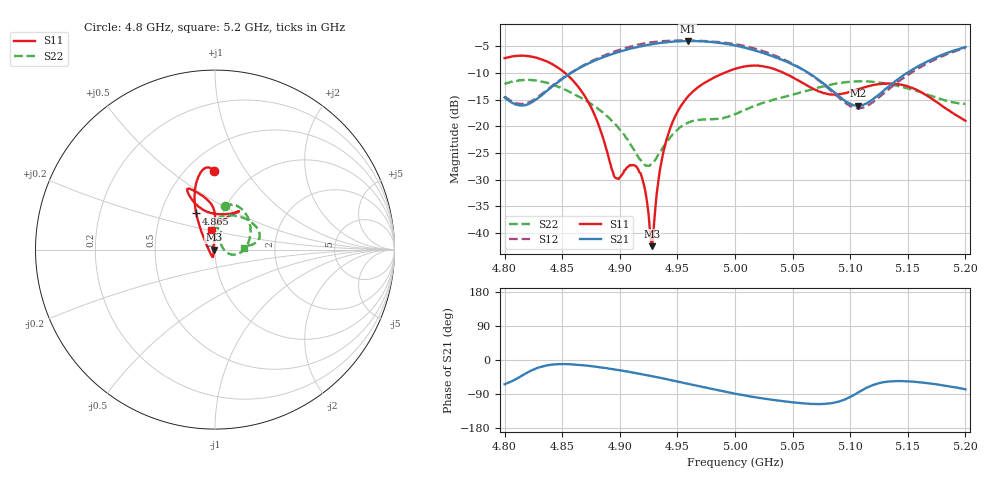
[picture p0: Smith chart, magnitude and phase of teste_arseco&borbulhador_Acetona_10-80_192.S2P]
! Network Analyzer HP8722D
! Hewlett-Packard
! Data name: Linha & Wilkinson
! Saver's name: Rodrigo Anjos
! Comments: Teste da utilização de aquisição
! continua pelo VNA HP8722D
! Time and date: 25/4/2025 16:52
!  Frequency  S11  S21  S12  S22
# HZ  S  MA R 50
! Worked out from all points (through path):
!   401 points, 4.8 GHz to 5.2 GHz, reference 50 ohm
!   highest |S21| = -3.98 dB at 4.959 GHz (marker M1); lowest = -16.2 dB at 5.107 GHz (marker M2)
!   lowest |S11| = -42.5 dB at 4.928 GHz (marker M3), VSWR 1.02, Z = 49.3 + j0.0366 ohm
!   |S11| at or under -10 dB: 4.853 GHz to 4.99 GHz (137.8 MHz wide, 2.8 % of centre); 5.043 GHz to end of sweep
!   |S22| runs from -27.4 to -11.3 dB; largest |S21 - S12| = 1.2
!   S11 on the Smith chart (normalised r, x): 4.8 GHz: 0.67, +0.72; 4.865 GHz: 0.75, +0.32; 5.2 GHz: 0.94, +0.21
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4.8e9  0.4359 91.0  0.1863 -64.0  0.1912 69.5  0.2485 77.1
4.82e9  0.4549 97.3  0.1609 -32.7  0.1664 98.1  0.2732 61.9
4.845e9  0.3626 107.7  0.253 -11.2  0.2572 119.4  0.2382 34.6
4.865e9  0.2265 117.4  0.352 -12.8  0.3565 121.0  0.1887 11.4
4.867e9  0.2112 118.5  0.3617 -13.7  0.3655 120.8  0.183 9.0
4.88e9  0.1143 128.6  0.4211 -18.1  0.4316 118.4  0.1494 -4.7
4.896e9  0.03289 -169.9  0.4861 -25.3  0.5055 113.3  0.105 -15.4
4.91e9  0.04306 -107.9  0.5371 -32.3  0.5616 107.4  0.06553 -13.3
4.917e9  0.03703 -105.0  0.5602 -36.3  0.5865 103.7  0.04945 -0.9
4.921e9  0.0281 -107.7  0.5717 -38.5  0.5995 101.6  0.04445 12.1
4.926e9  0.011 -134.1  0.585 -41.5  0.6117 98.6  0.04264 32.8
4.928e9  0.0075 177.2  0.5898 -42.8  0.6159 97.3  0.04483 40.3
4.934e9  0.03382 100.5  0.6031 -46.5  0.6276 93.5  0.05519 57.4
4.944e9  0.09754 91.0  0.6195 -52.9  0.6353 87.0  0.07937 68.9
4.959e9  0.1894 89.9  0.6326 -62.7  0.6378 77.5  0.1079 71.1
5e9  0.3469 109.3  0.573 -88.8  0.5916 51.0  0.1303 88.1
5.03e9  0.3554 115.4  0.465 -104.0  0.4824 34.0  0.1725 85.5
5.067e9  0.2278 105.7  0.3015 -115.9  0.2987 23.5  0.2216 57.3
5.107e9  0.2231 64.8  0.1557 -85.5  0.1478 57.5  0.264 24.3
5.134e9  0.2518 57.9  0.2387 -56.6  0.2251 88.7  0.2485 12.5
5.169e9  0.1872 70.5  0.4162 -61.9  0.3998 85.0  0.1954 6.9
5.2e9  0.1127 100.8  0.5536 -77.3  0.5432 70.4  0.162 3.8
